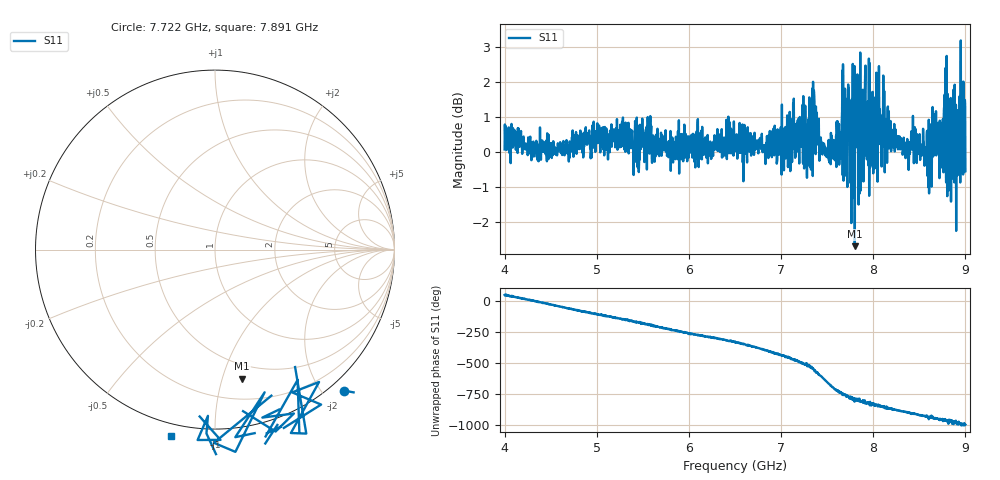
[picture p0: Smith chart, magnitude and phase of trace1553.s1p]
! Created with skrf 1.8.0 (http://scikit-rf.org).
# Hz S RI R 50.0
!freq ReS11 ImS11
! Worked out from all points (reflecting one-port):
!   1601 points, 4 GHz to 9 GHz, reference 50 ohm
!   lowest |S11| = -2.7 dB at 7.8 GHz (marker M1), VSWR 6.53, Z = 18.6 - j58.1 ohm
!   phase of S11 starts at 50 deg and turns -1050 deg over the sweep
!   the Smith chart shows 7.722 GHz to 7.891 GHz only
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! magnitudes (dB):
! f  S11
! 4 GHz  0.1
! 4.625 GHz  -0.1
! 5.25 GHz  0.1
! 5.875 GHz  0.2
! 6.5 GHz  0.2
! 7.038 GHz  0.5
! 7.125 GHz  0.8
! 7.303 GHz  -0.2
! 7.372 GHz  0.8
! 7.438 GHz  0.1
! 7.512 GHz  0.0
! 7.65 GHz  0.3
! 7.7 GHz  -0.7
! 7.75 GHz  -0.9
! 7.775 GHz  1.0
! 7.8 GHz  -2.7
! 7.834 GHz  0.4
! 7.859 GHz  2.8
! 7.928 GHz  1.0
! 7.944 GHz  1.5
! 8.134 GHz  0.1
! 8.375 GHz  0.1
! 8.438 GHz  0.7
! 8.612 GHz  0.0
! 8.788 GHz  -0.3
! 8.919 GHz  -0.4
! 8.972 GHz  0.6
! 9 GHz  -0.5
